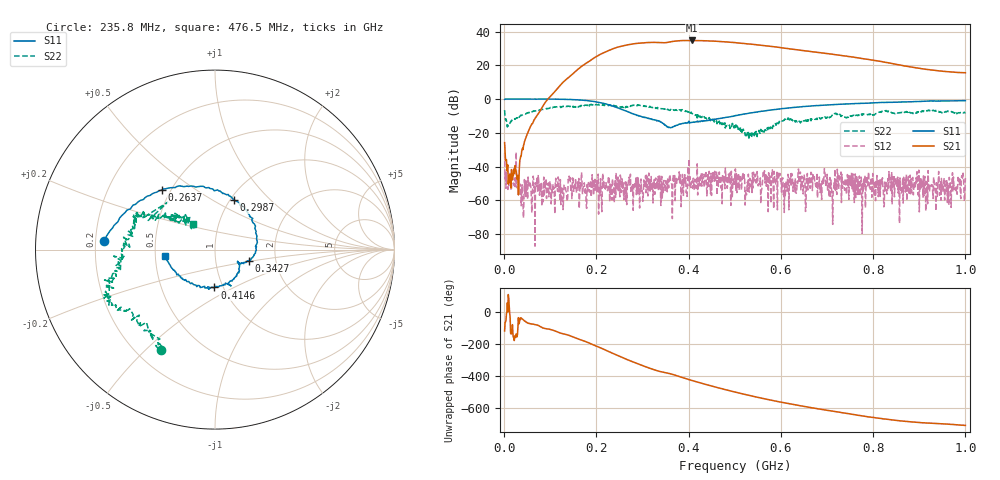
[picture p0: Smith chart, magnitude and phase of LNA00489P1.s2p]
! Created with skrf 1.9.0 (http://scikit-rf.org).
# Hz S RI R 50.0
!freq ReS11 ImS11 ReS21 ImS21 ReS12 ImS12 ReS22 ImS22
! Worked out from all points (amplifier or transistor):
!   1001 points, 1 MHz to 1 GHz, reference 50 ohm
!   highest |S21| = 34.8 dB at 406.6 MHz (marker M1)
!   |S21| within 3 dB of that: 260.5 MHz to 562.8 MHz (302.3 MHz wide, 73.4 % of centre)
!   unconditionally stable (mu >= 1): 243 MHz to 398.6 MHz; 400.9 MHz to 418.5 MHz; 418.6 MHz to end of sweep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
!   at 166.8 MHz: K = 0.50, MSG = 34.0 dB, |S12| = -48.8 dB
!   at 500.5 MHz: K = 1.39, MAG = 34.2 dB, |S12| = -42.3 dB
!   at 1 GHz: K = 2.40, MAG = 24.6 dB, |S12| = -46.7 dB
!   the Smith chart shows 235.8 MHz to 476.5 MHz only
!   S11 on the Smith chart (normalised r, x): 235.8 MHz: 0.23, +0.04; 263.7 MHz: 0.45, +0.37; 298.7 MHz: 1.04, +0.63; 342.7 MHz: 1.45, -0.18; 414.6 MHz: 0.91, -0.40; 476.5 MHz: 0.57, -0.05
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1000000  0.9754 -0.00292  -0.0246 -0.0449  -0.0245 0.00551  0.3145 0.3519
1.08892e8  0.5275 -0.8473  -0.7467 -1.432  0.00129 0.000425  0.4238 -0.3854
1.67833e8  -0.2272 -0.9017  -9.312 -0.698  0.00392 -0.00547  0.0352 -0.6418
2.07793e8  -0.6625 -0.4233  -15.33 14.32  -0.00113 -0.000804  -0.2137 -0.6562
2.35765e8  -0.6201 0.0461  -5.774 30.43  -0.00247 0.000999  -0.3026 -0.5572
2.63737e8  -0.2958 0.3324  16.11 35.96  0.000793 -0.000373  -0.4606 -0.3877
2.98702e8  0.1041 0.2776  41.48 20.32  -0.00114 -0.00165  -0.5944 -0.2423
3.17683e8  0.2189 0.1438  47.46 5.081  -0.00403 0.0028  -0.5697 -0.1336
3.34666e8  0.2246 -0.0133  46.86 -8.013  -0.00124 0.00142  -0.5209 -0.051
3.42658e8  0.1867 -0.0607  45.11 -12.73  -0.000717 -0.000851  -0.5169 -0.00154
3.72628e8  0.1365 -0.0935  42.33 -31.74  0.00226 0.0039  -0.4579 0.1684
4.06594e8  0.0362 -0.2011  20.76 -50.67  0.00049 0.00325  -0.3313 0.1844
4.14586e8  -0.00332 -0.2111  14.47 -52.46  -0.000786 0.00366  -0.2749 0.1775
4.43557e8  -0.1569 -0.1779  -7.403 -52.38  0.000765 0.0025  -0.1959 0.1832
4.76524e8  -0.2761 -0.0373  -27.59 -41.69  0.00424 0.00236  -0.1234 0.1407
5.005e8  -0.3067 0.099  -36.69 -30.09  0.00747 -0.00194  -0.1063 0.0793
5.39461e8  -0.2508 0.3104  -40.84 -9.444  0.00192 -0.00129  -0.0935 -0.0145
5.85415e8  -0.0675 0.4845  -34.36 9.548  0.004 -0.00599  -0.163 -0.0647
6.67333e8  0.3222 0.5377  -13.02 21.67  -0.00211 -0.00388  -0.2576 -0.0257
7.55245e8  0.6312 0.3692  3.024 17.35  -0.00226 -0.00186  -0.3208 0.0625
8.34166e8  0.7868 0.1508  7.921 8.757  -0.00701 0.000896  -0.4124 0.0967
1e9  0.8158 -0.3912  5.943 1.114  -0.000378 0.0046  -0.1451 0.3724
